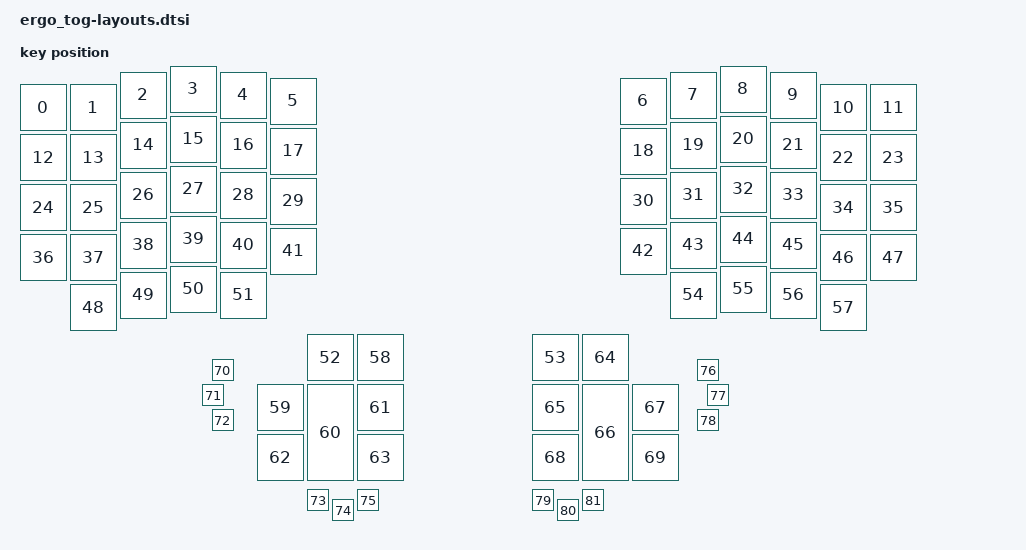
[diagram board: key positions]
#include <physical_layouts.dtsi>

/ {
    layout_0: layout_0 {
        compatible = "zmk,physical-layout";
        display-name = "LAYOUT";
        transform = <&default_transform>;
        
        keys  //                     w   h    x    y     rot    rx    ry
            = <&key_physical_attrs 100 100    0   37       0     0     0>
            , <&key_physical_attrs 100 100  100   37       0     0     0>
            , <&key_physical_attrs 100 100  200   12       0     0     0>
            , <&key_physical_attrs 100 100  300    0       0     0     0>
            , <&key_physical_attrs 100 100  400   12       0     0     0>
            , <&key_physical_attrs 100 100  500   24       0     0     0>
            , <&key_physical_attrs 100 100 1200   24       0     0     0>
            , <&key_physical_attrs 100 100 1300   12       0     0     0>
            , <&key_physical_attrs 100 100 1400    0       0     0     0>
            , <&key_physical_attrs 100 100 1500   12       0     0     0>
            , <&key_physical_attrs 100 100 1600   37       0     0     0>
            , <&key_physical_attrs 100 100 1700   37       0     0     0>
            , <&key_physical_attrs 100 100    0  137       0     0     0>
            , <&key_physical_attrs 100 100  100  137       0     0     0>
            , <&key_physical_attrs 100 100  200  112       0     0     0>
            , <&key_physical_attrs 100 100  300  100       0     0     0>
            , <&key_physical_attrs 100 100  400  112       0     0     0>
            , <&key_physical_attrs 100 100  500  124       0     0     0>
            , <&key_physical_attrs 100 100 1200  124       0     0     0>
            , <&key_physical_attrs 100 100 1300  112       0     0     0>
            , <&key_physical_attrs 100 100 1400  100       0     0     0>
            , <&key_physical_attrs 100 100 1500  112       0     0     0>
            , <&key_physical_attrs 100 100 1600  137       0     0     0>
            , <&key_physical_attrs 100 100 1700  137       0     0     0>
            , <&key_physical_attrs 100 100    0  237       0     0     0>
            , <&key_physical_attrs 100 100  100  237       0     0     0>
            , <&key_physical_attrs 100 100  200  212       0     0     0>
            , <&key_physical_attrs 100 100  300  200       0     0     0>
            , <&key_physical_attrs 100 100  400  212       0     0     0>
            , <&key_physical_attrs 100 100  500  224       0     0     0>
            , <&key_physical_attrs 100 100 1200  224       0     0     0>
            , <&key_physical_attrs 100 100 1300  212       0     0     0>
            , <&key_physical_attrs 100 100 1400  200       0     0     0>
            , <&key_physical_attrs 100 100 1500  212       0     0     0>
            , <&key_physical_attrs 100 100 1600  237       0     0     0>
            , <&key_physical_attrs 100 100 1700  237       0     0     0>
            , <&key_physical_attrs 100 100    0  337       0     0     0>
            , <&key_physical_attrs 100 100  100  337       0     0     0>
            , <&key_physical_attrs 100 100  200  312       0     0     0>
            , <&key_physical_attrs 100 100  300  300       0     0     0>
            , <&key_physical_attrs 100 100  400  312       0     0     0>
            , <&key_physical_attrs 100 100  500  324       0     0     0>
            , <&key_physical_attrs 100 100 1200  324       0     0     0>
            , <&key_physical_attrs 100 100 1300  312       0     0     0>
            , <&key_physical_attrs 100 100 1400  300       0     0     0>
            , <&key_physical_attrs 100 100 1500  312       0     0     0>
            , <&key_physical_attrs 100 100 1600  337       0     0     0>
            , <&key_physical_attrs 100 100 1700  337       0     0     0>
            , <&key_physical_attrs 100 100  100  437       0     0     0>
            , <&key_physical_attrs 100 100  200  412       0     0     0>
            , <&key_physical_attrs 100 100  300  400       0     0     0>
            , <&key_physical_attrs 100 100  400  412       0     0     0>
            , <&key_physical_attrs 100 100  575  537       0     0     0>
            , <&key_physical_attrs 100 100 1025  537       0     0     0>
            , <&key_physical_attrs 100 100 1300  412       0     0     0>
            , <&key_physical_attrs 100 100 1400  400       0     0     0>
            , <&key_physical_attrs 100 100 1500  412       0     0     0>
            , <&key_physical_attrs 100 100 1600  437       0     0     0>
            , <&key_physical_attrs 100 100  675  537       0     0     0>
            , <&key_physical_attrs 100 100  475  637       0     0     0>
            , <&key_physical_attrs 100 200  575  637       0     0     0>
            , <&key_physical_attrs 100 100  675  637       0     0     0>
            , <&key_physical_attrs 100 100  475  737       0     0     0>
            , <&key_physical_attrs 100 100  675  737       0     0     0>
            , <&key_physical_attrs 100 100 1125  537       0     0     0>
            , <&key_physical_attrs 100 100 1025  637       0     0     0>
            , <&key_physical_attrs 100 200 1125  637       0     0     0>
            , <&key_physical_attrs 100 100 1225  637       0     0     0>
            , <&key_physical_attrs 100 100 1025  737       0     0     0>
            , <&key_physical_attrs 100 100 1225  737       0     0     0>
            , <&key_physical_attrs  50  50  385  587       0     0     0>
            , <&key_physical_attrs  50  50  365  637       0     0     0>
            , <&key_physical_attrs  50  50  385  687       0     0     0>
            , <&key_physical_attrs  50  50  575  847       0     0     0>
            , <&key_physical_attrs  50  50  625  867       0     0     0>
            , <&key_physical_attrs  50  50  675  847       0     0     0>
            , <&key_physical_attrs  50  50 1355  587       0     0     0>
            , <&key_physical_attrs  50  50 1375  637       0     0     0>
            , <&key_physical_attrs  50  50 1355  687       0     0     0>
            , <&key_physical_attrs  50  50 1025  847       0     0     0>
            , <&key_physical_attrs  50  50 1075  867       0     0     0>
            , <&key_physical_attrs  50  50 1125  847       0     0     0>
            ;
    };

    position_map {
        compatible = "zmk,physical-layout-position-map";

        layout_0 {
            physical-layout = <&layout_0>;
            positions = <>;
        };
    };
};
